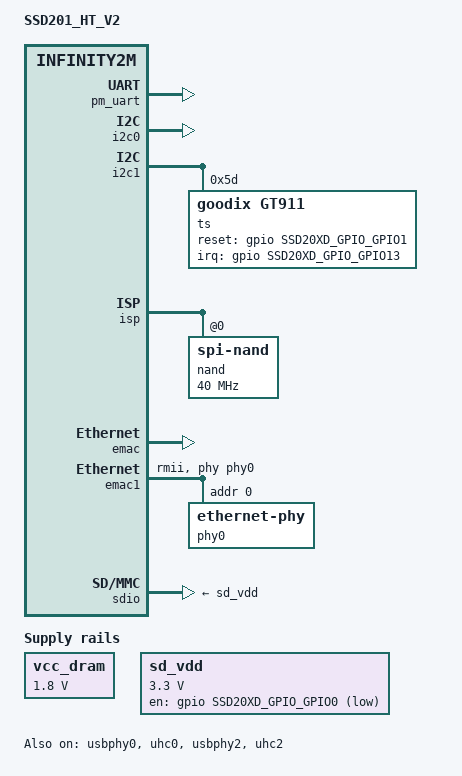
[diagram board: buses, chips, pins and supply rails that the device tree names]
// SPDX-License-Identifier: GPL-2.0-or-later
/*
 * Copyright (c) 2020 thingy.jp.
 * Author: Daniel Palmer <daniel@thingy.jp>
 */

/dts-v1/;
#include "mstar-infinity2m-ssd202d.dtsi"

/ {
	model = "SSD201_HT_V2";
	compatible = "honestar,ssd201htv2", "mstar,infinity2m";

	aliases {
		serial0 = &pm_uart;
	};

	chosen {
		stdout-path = "serial0:115200n8";
		bootargs = "console=ttyS0,115200 clk_ignore_unused earlyprintk";
	};

	vcc_dram: fixedregulator@1 {
		compatible = "regulator-fixed";
		regulator-name = "vcc_dram";
		regulator-min-microvolt = <1800000>;
		regulator-max-microvolt = <1800000>;
		regulator-boot-on;
	};

	sd_vdd: fixedregulator@0 {
		compatible = "regulator-fixed";
		regulator-name = "sd_vdd";
		regulator-min-microvolt = <3300000>;
		regulator-max-microvolt = <3300000>;
		gpio = <&gpio SSD20XD_GPIO_GPIO0 0>;
	};
};

&pm_uart {
	status = "okay";
};

&i2c0 {
	/delete-property/ pinctrl-names;
	/delete-property/ pinctrl-0;
	status = "okay";
};

&i2c1 {
	pinctrl-0 = <&i2c1_mode1_pins>;
	status = "okay";
	ts@5d {
		compatible = "goodix,gt911";
		reg = <0x5d>;
		reset-gpios = <&gpio SSD20XD_GPIO_GPIO1 0>;
		irq-gpios = <&gpio SSD20XD_GPIO_GPIO13 0>;
	};
};

&isp {
	status = "okay";
	nand: nand@0 {
		#address-cells = <1>;
		#size-cells = <1>;
		compatible = "spi-nand";
		reg = <0>;
		spi-max-frequency = <40000000>;
	};
};

&emac {
	status = "okay";
};

&emac1 {
	//status = "okay";
	phy-mode = "rmii";
	phy-handle = <&phy0>;


	#address-cells = <1>;
	#size-cells = <0>;
	phy0: ethernet-phy@0 {
		reg = <0x0>;
		phy-mode = "rmii";
	};
};

&usbphy0 {
	status = "okay";
};

&uhc0 {
	status = "okay";
};

&usbphy2 {
	status = "okay";
};

&uhc2 {
	status = "okay";
};

&sdio {
	vmmc-supply = <&sd_vdd>;
	status = "okay";
};

&miu {
	ddr-supply = <&vcc_dram>;
};

//&pnl {
//	pinctrl-names = "default";
//	pinctrl-0 = <&ttl_mode1_pins>;
//};
